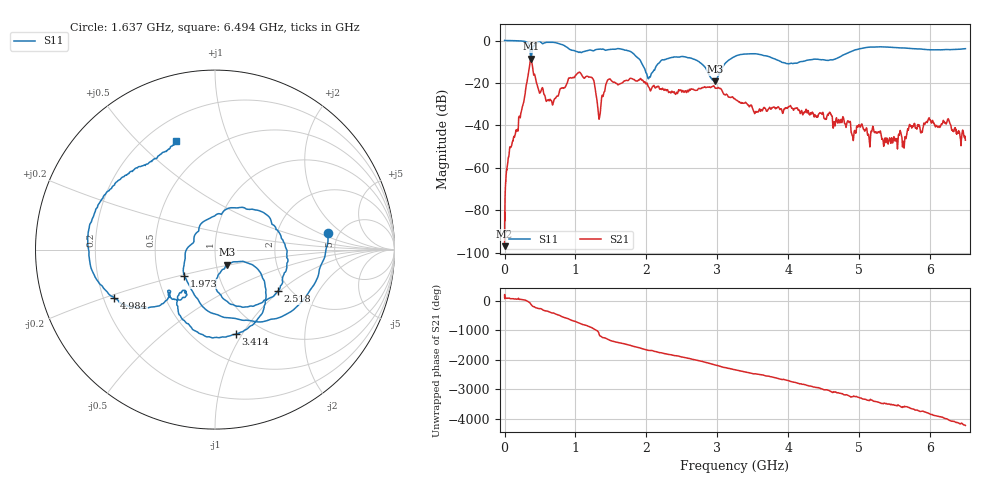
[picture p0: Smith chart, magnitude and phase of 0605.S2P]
!Keysight Technologies,E5063A,MY54503115,A.05.08
!Date: Mon Dec 04 17:54:42 2023
!Data & Calibration Information:
!Freq	S11:NONE(--)	S21:NONE(--)	S12:NONE(--)	S22:NONE(--)
# Hz S dB R 50
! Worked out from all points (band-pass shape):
!   10001 points, 100 kHz to 6.5 GHz, reference 50 ohm
!   highest |S21| = -8.52 dB at 368 MHz (marker M1); lowest = -96.9 dB at 100 kHz (marker M2)
!   |S21| within 3 dB of the highest: 354.6 MHz to 390.3 MHz (35.7 MHz wide, 9.59 % of centre)
!   lowest |S11| = -19.3 dB at 2.967 GHz (marker M3), VSWR 1.24, Z = 56.5 - j9.65 ohm
!   |S11| at or under -10 dB: 1.924 GHz to 2.194 GHz (270.1 MHz wide, 13.1 % of centre); 2.744 GHz to 3.136 GHz (392.3 MHz wide, 13.3 % of centre); 3.901 GHz to 4.167 GHz (266.5 MHz wide, 6.61 % of centre)
!   S12 and S22 are empty: the file has one direction only
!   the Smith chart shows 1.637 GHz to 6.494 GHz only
!   S11 on the Smith chart (normalised r, x): 1.637 GHz: 4.08, +1.24; 1.973 GHz: 0.68, -0.21; 2.518 GHz: 1.73, -0.97; 3.414 GHz: 0.76, -0.94; 4.984 GHz: 0.24, -0.21; 6.494 GHz: 0.32, +0.65
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100000  0.04 -0.5  -96.92 116.7  -200.00 0.0  -200.00 0.0
6.054907e7  -0.01 -19.5  -54.21 84.2  -200.00 0.0  -200.00 0.0
2.340964e8  -0.20 -76.8  -33.48 43.6  -200.00 0.0  -200.00 0.0
3.679943e8  -8.55 -135.2  -8.52 -109.9  -200.00 0.0  -200.00 0.0
5.83141e8  -0.85 171.4  -28.36 12.4  -200.00 0.0  -200.00 0.0
7.300388e8  -1.11 97.5  -26.53 -98.4  -200.00 0.0  -200.00 0.0
8.723866e8  -3.02 4.8  -20.73 132.8  -200.00 0.0  -200.00 0.0
9.77035e8  -4.72 -76.8  -17.54 31.2  -200.00 0.0  -200.00 0.0
1.083633e9  -5.70 -155.8  -15.88 -71.3  -200.00 0.0  -200.00 0.0
1.33258e9  -4.07 93.9  -37.08 -46.8  -200.00 0.0  -200.00 0.0
1.636775e9  -3.95 8.2  -20.29 10.8  -200.00 0.0  -200.00 0.0
1.97282e9  -13.00 -139.5  -19.60 158.1  -200.00 0.0  -200.00 0.0
2.167167e9  -10.90 53.3  -21.52 57.8  -200.00 0.0  -200.00 0.0
2.517511e9  -7.53 -33.4  -23.74 -115.5  -200.00 0.0  -200.00 0.0
2.967304e9  -19.25 -50.7  -22.27 -14.4  -200.00 0.0  -200.00 0.0
3.25005e9  -7.50 -49.5  -27.51 -177.3  -200.00 0.0  -200.00 0.0
3.414497e9  -6.29 -76.1  -29.66 98.7  -200.00 0.0  -200.00 0.0
4.333583e9  -8.92 -129.3  -34.35 -17.2  -200.00 0.0  -200.00 0.0
4.984223e9  -4.09 -154.6  -40.78 -23.9  -200.00 0.0  -200.00 0.0
5.417117e9  -3.10 162.1  -47.59 107.7  -200.00 0.0  -200.00 0.0
6.49415e9  -3.84 109.8  -45.27 104.6  -200.00 0.0  -200.00 0.0
6.5e9  -3.84 109.5  -46.96 98.3  -200.00 0.0  -200.00 0.0
